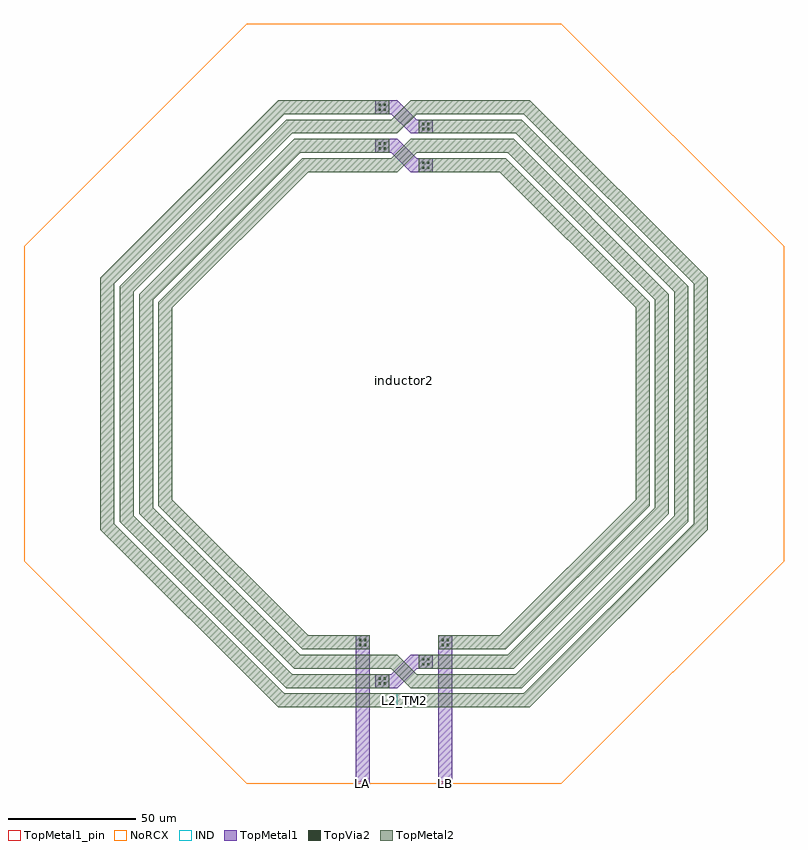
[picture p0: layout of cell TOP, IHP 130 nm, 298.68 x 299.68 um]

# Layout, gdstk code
import gdstk
lib = gdstk.Library(unit=1e-6, precision=1e-09)
def R(c, l, rs):  # rectangles x0, y0, x1, y1
    for r in rs: c.add(gdstk.rectangle(r[:2], r[2:], *l))
def P(c, l, *ps):  # polygons
    for p in ps: c.add(gdstk.Polygon(p, *l))
IND = (27, 0)
TopMetal1 = (126, 0)
TopMetal1_pin = (126, 2)
TopVia2 = (133, 0)
TopMetal2 = (134, 0)
NoRCX = (148, 0)

top = lib.new_cell('TOP')
R(top, IND, [(24.695,174.785,30.215,180.305)])
P(top, TopMetal1, [(30.14,385.095),(22.52,392.715),(16.13,392.715),(16.13,398.215),(24.77,398.215),(32.39,390.595),(38.78,390.595),(38.78,385.095)],
  [(30.14,400.335),(22.52,407.955),(16.13,407.955),(16.13,413.455),(24.77,413.455),(32.39,405.835),(38.78,405.835),(38.78,400.335)],
  [(16.13,182.395),(16.13,187.895),(22.51,187.895),(30.11,195.495),(38.79,195.495),(38.79,189.995),(32.39,189.995),(24.79,182.395)])
R(top, TopMetal1_pin, [(8.53,143.795,14.03,145.795), (40.88,143.795,46.38,145.795)])
R(top, TopVia2, [(17.45,183.715,18.35,184.615), (19.41,183.715,20.31,184.615), (17.45,185.675,18.35,186.575), (19.41,185.675,20.31,186.575), (34.61,191.315,35.51,192.215), (36.57,191.315,37.47,192.215), (34.61,193.275,35.51,194.175), (36.57,193.275,37.47,194.175), (9.85,198.915,10.75,199.815), (11.81,198.915,12.71,199.815), (42.2,198.915,43.1,199.815), (44.16,198.915,45.06,199.815), (9.85,200.875,10.75,201.775), (11.81,200.875,12.71,201.775), (42.2,200.875,43.1,201.775), (44.16,200.875,45.06,201.775), (34.6,386.415,35.5,387.315), (36.56,386.415,37.46,387.315), (34.6,388.375,35.5,389.275), (36.56,388.375,37.46,389.275), (17.45,394.015,18.35,394.915), (19.41,394.015,20.31,394.915), (17.45,395.975,18.35,396.875), (19.41,395.975,20.31,396.875), (34.6,401.655,35.5,402.555), (36.56,401.655,37.46,402.555), (34.6,403.615,35.5,404.515), (36.56,403.615,37.46,404.515), (17.45,409.255,18.35,410.155), (19.41,409.255,20.31,410.155), (17.45,411.215,18.35,412.115), (19.41,411.215,20.31,412.115)])
R(top, TopMetal2, [(21.63,174.795,33.28,180.295)])
P(top, TopMetal2, [(40.88,197.595),(40.88,203.095),(65.145,203.095),(118.455,256.405),(118.455,331.785),(65.145,385.095),(33.28,385.095),(33.28,390.595),(67.43,390.595),(123.955,334.07),(123.955,254.12),(67.43,197.595)],
  [(-12.52,197.595),(-69.045,254.12),(-69.045,334.07),(-12.52,390.595),(21.63,390.595),(21.63,385.095),(-10.235,385.095),(-63.545,331.785),(-63.545,256.405),(-10.235,203.095),(14.03,203.095),(14.03,197.595)],
  [(21.63,385.095),(21.63,390.595),(22.52,390.595),(30.14,398.215),(33.28,398.215),(33.28,392.715),(32.42,392.715),(24.8,385.095)],
  [(33.28,189.995),(33.28,195.495),(68.3,195.495),(126.065,253.26),(126.065,334.95),(68.3,392.715),(33.28,392.715),(33.28,398.215),(70.585,398.215),(131.565,337.235),(131.565,250.975),(70.585,189.995)],
  [(-15.675,189.995),(-76.655,250.975),(-76.655,337.235),(-15.675,398.215),(21.63,398.215),(21.63,392.715),(-13.39,392.715),(-71.155,334.95),(-71.155,253.26),(-13.39,195.495),(21.63,195.495),(21.63,189.995)],
  [(33.28,182.395),(33.28,187.895),(71.45,187.895),(133.675,250.12),(133.675,338.11),(71.45,400.335),(33.28,400.335),(33.28,405.835),(73.735,405.835),(139.175,340.395),(139.175,247.835),(73.735,182.395)],
  [(-18.825,182.395),(-84.265,247.835),(-84.265,340.395),(-18.825,405.835),(21.63,405.835),(21.63,400.335),(-16.54,400.335),(-78.765,338.11),(-78.765,250.12),(-16.54,187.895),(21.63,187.895),(21.63,182.395)],
  [(21.63,400.335),(21.63,405.835),(22.52,405.835),(30.14,413.455),(33.28,413.455),(33.28,407.955),(32.42,407.955),(24.8,400.335)],
  [(30.12,182.395),(22.52,189.995),(21.63,189.995),(21.63,195.495),(24.8,195.495),(32.4,187.895),(33.28,187.895),(33.28,182.395)],
  [(33.28,174.795),(33.28,180.295),(74.6,180.295),(141.285,246.98),(141.285,341.27),(74.6,407.955),(33.28,407.955),(33.28,413.455),(76.885,413.455),(146.785,343.555),(146.785,244.695),(76.885,174.795)],
  [(-21.975,174.795),(-91.875,244.695),(-91.875,343.555),(-21.975,413.455),(21.63,413.455),(21.63,407.955),(-19.69,407.955),(-86.375,341.27),(-86.375,246.98),(-19.69,180.295),(21.63,180.295),(21.63,174.795)])
P(top, NoRCX, [(-34.4,144.795),(-121.885,232.28),(-121.885,355.99),(-34.4,443.475),(89.31,443.475),(176.795,355.99),(176.795,232.28),(89.31,144.795)])
top.add(gdstk.FlexPath([(43.63,143.795),(43.63,203.095)], 5.5, ends="flush", simple_path=True, layer=126, datatype=0))  # TopMetal1
top.add(gdstk.FlexPath([(11.28,143.795),(11.28,203.095)], 5.5, ends="flush", simple_path=True, layer=126, datatype=0))  # TopMetal1
top.add(gdstk.Label('L2_TM2', (27.455,177.545), layer=63, texttype=0))
top.add(gdstk.Label('LB', (43.63,144.795), layer=63, texttype=0))
top.add(gdstk.Label('LA', (11.28,144.795), layer=63, texttype=0))
top.add(gdstk.Label('inductor2', (27.455,303.365), layer=63, texttype=0))

lib.write_gds('TOP.gds')
